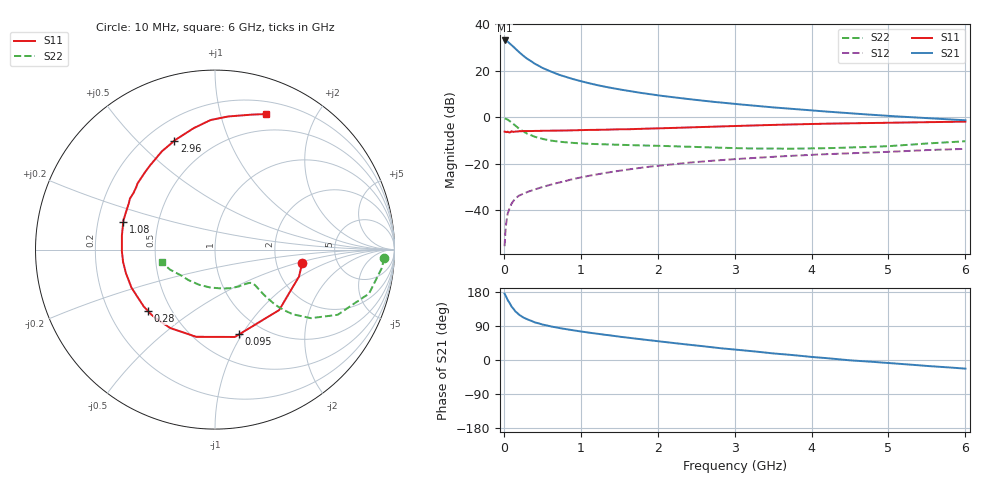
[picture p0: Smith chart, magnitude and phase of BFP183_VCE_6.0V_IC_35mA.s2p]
! Infineon Technologies  Discrete & RF Semiconductors
! BFP183
! VCE = 6.0 V,  IC =  35 mA
! Common Emitter S-Parameters:  Jan 2016
# GHz  S  MA  R  50
!  f  S11  S21  S12  S22
! GHz  MAG  ANG  MAG  ANG  MAG  ANG  MAG  ANG
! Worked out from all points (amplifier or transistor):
!   210 points, 10 MHz to 6 GHz, reference 50 ohm
!   highest |S21| = 33.0 dB at 10 MHz (marker M1)
!   |S21| within 3 dB of that: start of sweep to 133.3 MHz
!   unconditionally stable (mu >= 1): 666.5 MHz to 5.776 GHz
!   at 185 MHz: K = 0.47, MSG = 31.2 dB, |S12| = -34.0 dB
!   at 1.52 GHz: K = 1.16, MAG = 15.0 dB, |S12| = -22.9 dB
!   at 6 GHz: K = 0.97, MSG = 6.2 dB, |S12| = -13.6 dB
!   S11 on the Smith chart (normalised r, x): 10 MHz: 2.81, -0.56; 95 MHz: 0.78, -0.97; 280 MHz: 0.37, -0.34; 1.08 GHz: 0.31, +0.13; 2.96 GHz: 0.31, +0.65; 6 GHz: 0.32, +1.40
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0.01  0.4917 -8.8  44.77 175.0  0.0017 80.3  0.9441 -2.8
0.02  0.4915 -17.8  44.68 171.1  0.0034 86.7  0.9344 -6.4
0.05  0.4911 -43.3  42.34 158.3  0.0085 77.4  0.8928 -15.9
0.095  0.4908 -74.0  36.33 143.1  0.0133 63.4  0.7842 -26.6
0.1  0.4992 -77.2  35.85 141.1  0.0139 62.5  0.7741 -28.0
0.15  0.4971 -102.2  29.91 128.2  0.0181 55.9  0.658 -35.5
0.2  0.5032 -119.8  24.98 119.1  0.0208 52.8  0.567 -39.6
0.24  0.5048 -129.7  21.88 113.9  0.0223 52.1  0.513 -41.2
0.28  0.5063 -137.7  19.41 109.6  0.0238 51.3  0.4684 -42.2
0.3  0.5081 -141.4  18.28 107.4  0.0246 50.8  0.4477 -42.5
0.4  0.5113 -155.4  14.23 99.4  0.028 52.5  0.3824 -42.8
0.5  0.5134 -165.2  11.54 93.7  0.0317 53.1  0.343 -42.4
0.7  0.5188 -178.9  8.379 85.0  0.0391 55.5  0.3011 -41.6
1.02  0.5296 165.8  5.84 74.7  0.0514 57.1  0.2734 -42.8
1.08  0.5339 163.3  5.533 72.9  0.0542 57.2  0.2703 -43.2
1.5  0.5528 149.0  3.98 61.6  0.0708 55.7  0.2561 -48.2
2.02  0.5794 133.0  2.935 49.2  0.0914 51.8  0.2438 -57.8
2.96  0.6476 110.4  1.968 28.2  0.1247 43.2  0.2188 -81.2
3.1  0.6563 107.6  1.874 25.7  0.1291 41.9  0.2157 -85.3
4.1  0.7256 90.5  1.365 6.5  0.1589 32.5  0.2154 -117.6
5.1  0.7667 77.8  1.047 -9.4  0.1839 24.7  0.2456 -146.5
6  0.8069 69.3  0.863 -22.8  0.2094 16.2  0.3061 -166.6
